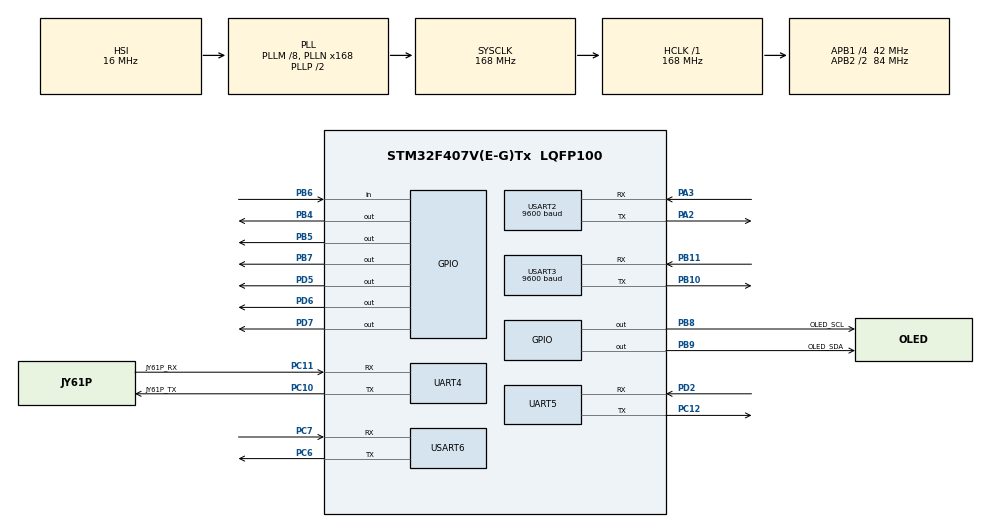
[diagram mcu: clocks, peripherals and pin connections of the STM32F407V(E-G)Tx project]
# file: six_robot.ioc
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FREERTOS.Queues01=bt_msg_Queue,16,uint8_t,0,Dynamic,NULL,NULL
FREERTOS.Tasks01=defaultTask,9,256,StartDefaultTask,Default,NULL,Dynamic,NULL,NULL;yaw_send,13,256,yaw_send_Task,Default,NULL,Dynamic,NULL,NULL;leg_gait,14,512,leg_gait_Task,Default,NULL,Dynamic,NULL,NULL;key,10,128,key_Task,Default,NULL,Dynamic,NULL,NULL;bt_control,12,256,bt_control_Task,Default,NULL,Dynamic,NULL,NULL
FREERTOS.configENABLE_FPU=1
FREERTOS.configTOTAL_HEAP_SIZE=40960
Mcu.Family=STM32F4
Mcu.Name=STM32F407V(E-G)Tx
Mcu.Package=LQFP100
NVIC.PriorityGroup=NVIC_PRIORITYGROUP_4
NVIC.TIM1_UP_TIM10_IRQn=true\:5\:0\:false\:false\:true\:true\:true\:true\:true
NVIC.TIM6_DAC_IRQn=true\:15\:0\:false\:false\:true\:false\:false\:true\:true
NVIC.TimeBase=TIM6_DAC_IRQn
NVIC.TimeBaseIP=TIM6
NVIC.UART4_IRQn=true\:5\:0\:false\:false\:true\:true\:true\:true\:true
NVIC.USART3_IRQn=true\:5\:0\:false\:false\:true\:true\:true\:true\:true
PA13.Mode=Serial_Wire
PA13.Signal=SYS_JTMS-SWDIO
PA14.Mode=Serial_Wire
PA14.Signal=SYS_JTCK-SWCLK
PA2.Mode=Asynchronous
PA2.Signal=USART2_TX
PA3.Mode=Asynchronous
PA3.Signal=USART2_RX
PB10.Mode=Asynchronous
PB10.Signal=USART3_TX
PB11.Mode=Asynchronous
PB11.Signal=USART3_RX
PB4.Signal=GPIO_Output
PB5.Signal=GPIO_Output
PB6.GPIO_PuPd=GPIO_PULLUP
PB6.Signal=GPIO_Input
PB7.Signal=GPIO_Output
PB8.GPIO_Label=OLED_SCL
PB8.GPIO_ModeDefaultOutputPP=GPIO_MODE_OUTPUT_OD
PB8.GPIO_PuPd=GPIO_PULLUP
PB8.Signal=GPIO_Output
PB9.GPIO_Label=OLED_SDA
PB9.GPIO_ModeDefaultOutputPP=GPIO_MODE_OUTPUT_OD
PB9.GPIO_PuPd=GPIO_PULLUP
PB9.Signal=GPIO_Output
PC10.GPIO_Label=JY61P_TX
PC10.Mode=Asynchronous
PC10.Signal=UART4_TX
PC11.GPIO_Label=JY61P_RX
PC11.Mode=Asynchronous
PC11.Signal=UART4_RX
PC12.Mode=Asynchronous
PC12.Signal=UART5_TX
PC6.Mode=Asynchronous
PC6.Signal=USART6_TX
PC7.Mode=Asynchronous
PC7.Signal=USART6_RX
PD2.Mode=Asynchronous
PD2.Signal=UART5_RX
PD5.Signal=GPIO_Output
PD6.Signal=GPIO_Output
PD7.Signal=GPIO_Output
ProjectManager.HeapSize=0x200
ProjectManager.StackSize=0x400
ProjectManager.TargetToolchain=MDK-ARM V5.32
RCC.48MHZClocksFreq_Value=84000000
RCC.AHBFreq_Value=168000000
RCC.APB1CLKDivider=RCC_HCLK_DIV4
RCC.APB1Freq_Value=42000000
RCC.APB1TimFreq_Value=84000000
RCC.APB2CLKDivider=RCC_HCLK_DIV2
RCC.APB2Freq_Value=84000000
RCC.APB2TimFreq_Value=168000000
RCC.CortexFreq_Value=168000000
RCC.HCLKFreq_Value=168000000
RCC.HSE_VALUE=25000000
RCC.HSI_VALUE=16000000
RCC.LSE_VALUE=32768
RCC.PLLM=8
RCC.PLLN=168
RCC.SYSCLKFreq_VALUE=168000000
RCC.SYSCLKSource=RCC_SYSCLKSOURCE_PLLCLK
RCC.VCOOutputFreq_Value=336000000
TIM1.Period=10000-1
TIM1.Prescaler=168-1
TIM12.Period=20000
TIM12.Prescaler=168-1
TIM13.Period=20000
TIM13.Prescaler=168-1
TIM9.Period=20000
TIM9.Prescaler=168-1
UART4.VirtualMode=Asynchronous
UART5.VirtualMode=Asynchronous
USART2.BaudRate=9600
USART2.VirtualMode=VM_ASYNC
USART3.BaudRate=9600
USART3.VirtualMode=VM_ASYNC
USART6.VirtualMode=VM_ASYNC
VP_FREERTOS_VS_CMSIS_V2.Mode=CMSIS_V2
VP_SYS_VS_tim6.Mode=TIM6
VP_TIM12_VS_ClockSourceINT.Mode=Internal
VP_TIM13_VS_ClockSourceINT.Mode=Enable_Timer
VP_TIM1_VS_ClockSourceINT.Mode=Internal
VP_TIM9_VS_ClockSourceINT.Mode=Internal
board=custom

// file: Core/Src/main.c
/* USER CODE BEGIN Header */
/**
  ******************************************************************************
  * @file           : main.c
  * @brief          : Main program body
  ******************************************************************************
  * @attention
  *
  * Copyright (c) 2026 STMicroelectronics.
  * All rights reserved.
  *
  * This software is licensed under terms that can be found in the LICENSE file
  * in the root directory of this software component.
  * If no LICENSE file comes with this software, it is provided AS-IS.
  *
  ******************************************************************************
  */
/* USER CODE END Header */
#include "main.h"
#include "cmsis_os.h"
#include "tim.h"
#include "usart.h"
#include "gpio.h"

/* USER CODE BEGIN Includes */
#include "OLED.h"
#include "JY61P.h"
#include "pid.h"
#include "leg_angle.h"
#include "leg_gait.h"
#include "bt_control.h"
#include "face.h"
/* USER CODE END Includes */

/* USER CODE BEGIN PTD */
volatile uint16_t count1;
extern PID A_AddPID,B_AddPID,C_AddPID,D_AddPID;
extern volatile uint8_t gait_stop_req;
/* USER CODE END PTD */

void SystemClock_Config(void);
void MX_FREERTOS_Init(void);

int main(void)
{

  /* MCU Configuration--------------------------------------------------------*/

  /* Reset of all peripherals, Initializes the Flash interface and the Systick. */
  HAL_Init();

  /* Configure the system clock */
  SystemClock_Config();

  /* Initialize all configured peripherals */
  MX_GPIO_Init();
  MX_UART4_Init();
  MX_TIM1_Init();
  MX_UART5_Init();
  MX_TIM9_Init();
  MX_TIM12_Init();
  MX_TIM13_Init();
  MX_USART2_UART_Init();
  MX_USART3_UART_Init();
  MX_USART6_UART_Init();
  /* USER CODE BEGIN 2 */
  OLED_Init();
  JY61P_Init();
  Serial_JY61P_Zero_Yaw();   /* 开机把当前朝向置零*/
  PID_Init();
  LEG_Init();
  Bt_Init();
  //Face_Init();
  HAL_TIM_PWM_Start(&htim1,TIM_CHANNEL_1);
  HAL_TIM_PWM_Start(&htim1,TIM_CHANNEL_2);
  HAL_TIM_PWM_Start(&htim1,TIM_CHANNEL_3);
  HAL_TIM_PWM_Start(&htim1,TIM_CHANNEL_4);
  HAL_TIM_Base_Start_IT(&htim1); // 开启TIM1的更新中断
  /* USER CODE END 2 */

  /* Init scheduler */
  osKernelInitialize();  /* Call init function for freertos objects (in cmsis_os2.c) */
  MX_FREERTOS_Init();

  /* Start scheduler */
  osKernelStart();

  /* We should never get here as control is now taken by the scheduler */

  /* Infinite loop */
  while (1)
  {

  }
}

void SystemClock_Config(void)
{
  RCC_OscInitTypeDef RCC_OscInitStruct = {0};
  RCC_ClkInitTypeDef RCC_ClkInitStruct = {0};

  /** Configure the main internal regulator output voltage
  */
  __HAL_RCC_PWR_CLK_ENABLE();
  __HAL_PWR_VOLTAGESCALING_CONFIG(PWR_REGULATOR_VOLTAGE_SCALE1);

  /** Initializes the RCC Oscillators according to the specified parameters
  * in the RCC_OscInitTypeDef structure.
  */
  RCC_OscInitStruct.OscillatorType = RCC_OSCILLATORTYPE_HSI;
  RCC_OscInitStruct.HSIState = RCC_HSI_ON;
  RCC_OscInitStruct.HSICalibrationValue = RCC_HSICALIBRATION_DEFAULT;
  RCC_OscInitStruct.PLL.PLLState = RCC_PLL_ON;
  RCC_OscInitStruct.PLL.PLLSource = RCC_PLLSOURCE_HSI;
  RCC_OscInitStruct.PLL.PLLM = 8;
  RCC_OscInitStruct.PLL.PLLN = 168;
  RCC_OscInitStruct.PLL.PLLP = RCC_PLLP_DIV2;
  RCC_OscInitStruct.PLL.PLLQ = 4;
  if (HAL_RCC_OscConfig(&RCC_OscInitStruct) != HAL_OK)
  {
    Error_Handler();
  }

  /** Initializes the CPU, AHB and APB buses clocks
  */
  RCC_ClkInitStruct.ClockType = RCC_CLOCKTYPE_HCLK|RCC_CLOCKTYPE_SYSCLK
                              |RCC_CLOCKTYPE_PCLK1|RCC_CLOCKTYPE_PCLK2;
  RCC_ClkInitStruct.SYSCLKSource = RCC_SYSCLKSOURCE_PLLCLK;
  RCC_ClkInitStruct.AHBCLKDivider = RCC_SYSCLK_DIV1;
  RCC_ClkInitStruct.APB1CLKDivider = RCC_HCLK_DIV4;
  RCC_ClkInitStruct.APB2CLKDivider = RCC_HCLK_DIV2;

  if (HAL_RCC_ClockConfig(&RCC_ClkInitStruct, FLASH_LATENCY_5) != HAL_OK)
  {
    Error_Handler();
  }
}

void HAL_TIM_PeriodElapsedCallback(TIM_HandleTypeDef *htim)
{
  /* USER CODE BEGIN Callback 0 */
	//10ms的中断周期
	if (htim->Instance == TIM1)
  {
    count1++;
	//if(count1==700)gait_stop_req=1;
  }
  /* USER CODE END Callback 0 */
  if (htim->Instance == TIM6)
  {
    HAL_IncTick();
  }
}

void Error_Handler(void)
{
  __disable_irq();
  while (1)
  {
  }
}

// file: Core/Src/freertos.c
/* USER CODE BEGIN Header */
/**
  ******************************************************************************
  * File Name          : freertos.c
  * Description        : Code for freertos applications
  ******************************************************************************
  * @attention
  *
  * Copyright (c) 2026 STMicroelectronics.
  * All rights reserved.
  *
  * This software is licensed under terms that can be found in the LICENSE file
  * in the root directory of this software component.
  * If no LICENSE file comes with this software, it is provided AS-IS.
  *
  ******************************************************************************
  */
/* USER CODE END Header */

#include "FreeRTOS.h"
#include "task.h"
#include "main.h"
#include "cmsis_os.h"

/* USER CODE BEGIN Includes */
#include "OLED.h"
#include "JY61P.h"
#include "tim.h"
#include "pid.h"
#include "leg_angle.h"
#include "usart.h"
#include <stdint.h>
#include "leg_gait.h"
#include "key.h"
#include "bt_control.h"
#include "face.h"
/* USER CODE END Includes */

/* USER CODE BEGIN PTD */
extern volatile float Pitch, Roll, Yaw;
extern volatile float vYaw;
extern volatile uint16_t count1;
extern char A,B,C,D;
extern LegMount LEG1,LEG2,LEG3,LEG4,LEG5,LEG6;
extern volatile uint8_t gait_mode;
extern volatile uint8_t gait_want_mode;//移动模式
extern volatile uint8_t gait_stop_req;
extern volatile uint8_t go_flag;
extern volatile int e_flag;
extern volatile uint8_t bt_go_flag;
/* USER CODE END PTD */

/* Definitions for defaultTask */
osThreadId_t defaultTaskHandle;
const osThreadAttr_t defaultTask_attributes = {
  .name = "defaultTask",
  .stack_size = 256 * 4,
  .priority = (osPriority_t) osPriorityLow1,
};
/* Definitions for yaw_send */
osThreadId_t yaw_sendHandle;
const osThreadAttr_t yaw_send_attributes = {
  .name = "yaw_send",
  .stack_size = 256 * 4,
  .priority = (osPriority_t) osPriorityLow5,
};
/* Definitions for leg_gait */
osThreadId_t leg_gaitHandle;
const osThreadAttr_t leg_gait_attributes = {
  .name = "leg_gait",
  .stack_size = 512 * 4,
  .priority = (osPriority_t) osPriorityLow6,
};
/* Definitions for key */
osThreadId_t keyHandle;
const osThreadAttr_t key_attributes = {
  .name = "key",
  .stack_size = 128 * 4,
  .priority = (osPriority_t) osPriorityLow2,
};
/* Definitions for bt_control */
osThreadId_t bt_controlHandle;
const osThreadAttr_t bt_control_attributes = {
  .name = "bt_control",
  .stack_size = 256 * 4,
  .priority = (osPriority_t) osPriorityLow4,
};
/* Definitions for bt_msg_Queue */
osMessageQueueId_t bt_msg_QueueHandle;
const osMessageQueueAttr_t bt_msg_Queue_attributes = {
  .name = "bt_msg_Queue"
};

void StartDefaultTask(void *argument);
void yaw_send_Task(void *argument);
void leg_gait_Task(void *argument);
void key_Task(void *argument);
void bt_control_Task(void *argument);

void MX_FREERTOS_Init(void); /* (MISRA C 2004 rule 8.1) */

void MX_FREERTOS_Init(void) {

  /* Create the queue(s) */
  /* creation of bt_msg_Queue */
  bt_msg_QueueHandle = osMessageQueueNew (16, sizeof(uint8_t), &bt_msg_Queue_attributes);

  /* Create the thread(s) */
  /* creation of defaultTask */
  defaultTaskHandle = osThreadNew(StartDefaultTask, NULL, &defaultTask_attributes);

  /* creation of yaw_send */
  yaw_sendHandle = osThreadNew(yaw_send_Task, NULL, &yaw_send_attributes);

  /* creation of leg_gait */
  leg_gaitHandle = osThreadNew(leg_gait_Task, NULL, &leg_gait_attributes);

  /* creation of key */
  keyHandle = osThreadNew(key_Task, NULL, &key_attributes);

  /* creation of bt_control */
  bt_controlHandle = osThreadNew(bt_control_Task, NULL, &bt_control_attributes);

}

void StartDefaultTask(void *argument)
{
  /* USER CODE BEGIN StartDefaultTask */
  /* Infinite loop */
  for(;;)
  {
	//OLED_ShowString(10, 10,"haha",OLED_6X8);
	OLED_Printf(10, 10,OLED_6X8, "bt_go_flag:%d",bt_go_flag);
	OLED_Printf(10, 25,OLED_6X8, "pitch:%5.2f",Pitch);
	OLED_Printf(10, 40,OLED_6X8, "Roll:%6.1f",Roll);   /*陀螺仪 Z 轴角速度，单位 度/秒，用来确认 0x52 帧收到了*/
	//OLED_ShowFloatNum(10, 40,count1,4,3,OLED_6X8);
	OLED_Update();
  osDelay(70);
//	Face_Update();
//    osDelay(40);
  }
  /* USER CODE END StartDefaultTask */
}

void yaw_send_Task(void *argument)
{
  /* USER CODE BEGIN yaw_send_Task */
  /* Infinite loop */
  for(;;)
  {
	/*
	  负责将机器yaw,vyaw,odom发送至上位机，如不需要slam和导航可清空该部分
	*/
	float ds = Odom_Take();

	int16_t t_Yaw=(int16_t)(Yaw*100);
	float tmp_vYaw = vYaw * 100.0f;
	float   tmp_d  = ds   * 100.0f;

	//防止溢出
	if(tmp_vYaw >  32767.0f) tmp_vYaw =  32767.0f;
	if(tmp_vYaw < -32768.0f) tmp_vYaw = -32768.0f;
	if(tmp_d >  32767.0f) tmp_d =  32767.0f;
    if(tmp_d < -32768.0f) tmp_d = -32768.0f;

	int16_t t_vYaw=(int16_t)tmp_vYaw;
	int16_t t_ds   = (int16_t)tmp_d;

	uint8_t a[8];
	a[0] = 0xAA;
	a[1] = (t_Yaw >> 8) & 0xFF;  // 取高8位
	a[2] = t_Yaw & 0xFF;         // 取低8位
	a[3] = (t_vYaw >> 8) & 0xFF; // 同上
	a[4] = t_vYaw & 0xFF;
	a[5] = (t_ds   >> 8) & 0xFF; //同上
    a[6] =  t_ds  & 0xFF;
	a[7] = 0xBB;

	HAL_UART_Transmit(&huart6,a,8,100);
	osDelay(20);
  }
  /* USER CODE END yaw_send_Task */
}

void leg_gait_Task(void *argument)
{
  /* USER CODE BEGIN leg_gait_Task */

	/*步态控制任务*/
	Serial_JY61P_Zero_Yaw();
	GaitServo list[9];
	gait_init(list,&gait_want_mode);

  /* Infinite loop */
  for(;;)
  {
	leg_gait(list,&gait_mode,&gait_want_mode);
    osDelay(1);
  }
  /* USER CODE END leg_gait_Task */
}

void key_Task(void *argument)
{
  /* USER CODE BEGIN key_Task */
  /* Infinite loop */
  for(;;)
  {
	robot_go_key();
    osDelay(20);
  }
  /* USER CODE END key_Task */
}

void bt_control_Task(void *argument)
{
  /* USER CODE BEGIN bt_control_Task */
  /* Infinite loop */
  for(;;)
  {
    Bt_Poll();          /* 解析缓冲里的命令 + 角度录入超时检查 */
    osDelay(20);
  }
  /* USER CODE END bt_control_Task */
}
